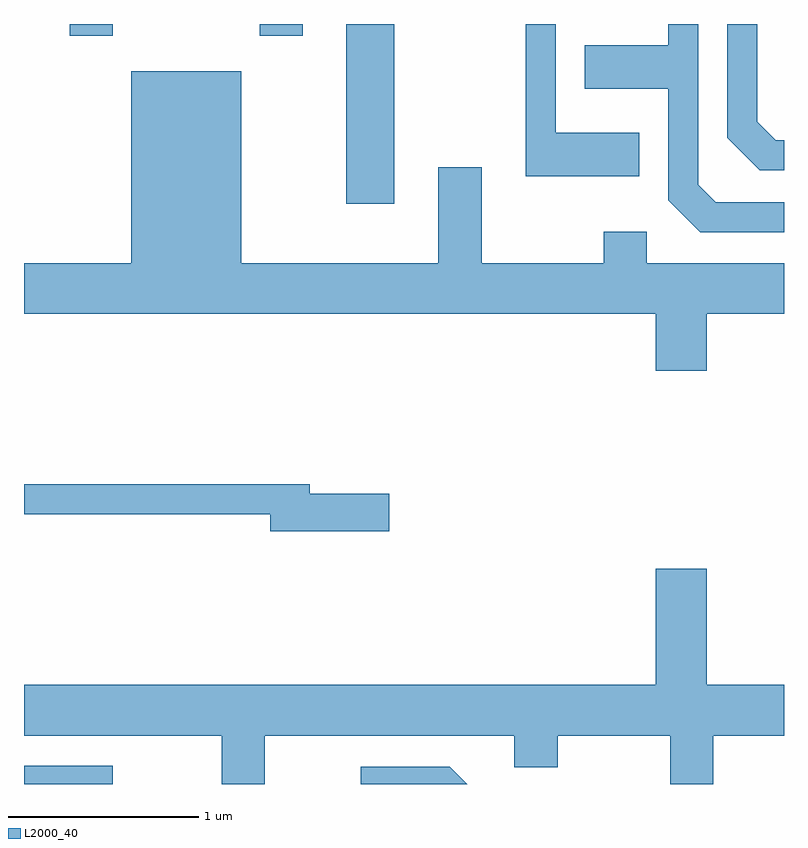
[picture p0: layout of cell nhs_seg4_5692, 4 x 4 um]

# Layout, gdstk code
import gdstk
lib = gdstk.Library(unit=1e-6, precision=1e-09)
def R(c, l, rs):  # rectangles x0, y0, x1, y1
    for r in rs: c.add(gdstk.rectangle(r[:2], r[2:], *l))
def P(c, l, *ps):  # polygons
    for p in ps: c.add(gdstk.Polygon(p, *l))
L2000_40 = (2000, 40)

nhs_seg4_5692 = lib.new_cell('nhs_seg4_5692')
R(nhs_seg4_5692, L2000_40, [(351.611,1349.982,352.079,1350.079), (353.306,1353.036,353.559,1353.982), (351.851,1353.921,352.079,1353.982), (352.851,1353.921,353.079,1353.982)])
P(nhs_seg4_5692, L2000_40, [(355.611,1353.369),(355.567,1353.369),(355.469,1353.467),(355.469,1353.982),(355.311,1353.982),(355.311,1353.384),(355.484,1353.211),(355.611,1353.211)],
  [(355.611,1353.044),(355.252,1353.044),(355.159,1353.137),(355.159,1353.982),(355.001,1353.982),(355.001,1353.869),(354.561,1353.869),(354.561,1353.641),(355.001,1353.641),(355.001,1353.054),(355.169,1352.886),(355.611,1352.886)],
  [(354.849,1353.409),(354.409,1353.409),(354.409,1353.982),(354.251,1353.982),(354.251,1353.181),(354.849,1353.181)],
  [(355.204,1352.456),(355.611,1352.456),(355.611,1352.724),(354.889,1352.724),(354.889,1352.889),(354.661,1352.889),(354.661,1352.724),(354.019,1352.724),(354.019,1353.229),(353.791,1353.229),(353.791,1352.724),(352.754,1352.724),(352.754,1353.734),(352.176,1353.734),(352.176,1352.724),(351.611,1352.724),(351.611,1352.456),(354.936,1352.456),(354.936,1352.156),(355.204,1352.156)],
  [(353.534,1351.509),(353.114,1351.509),(353.114,1351.559),(351.611,1351.559),(351.611,1351.401),(352.906,1351.401),(352.906,1351.311),(353.534,1351.311)],
  [(352.879,1350.236),(354.191,1350.236),(354.191,1350.071),(354.419,1350.071),(354.419,1350.236),(355.011,1350.236),(355.011,1349.982),(355.239,1349.982),(355.239,1350.236),(355.611,1350.236),(355.611,1350.504),(355.204,1350.504),(355.204,1351.114),(354.936,1351.114),(354.936,1350.504),(351.611,1350.504),(351.611,1350.236),(352.651,1350.236),(352.651,1349.982),(352.879,1349.982)],
  [(353.852,1350.074),(353.383,1350.074),(353.383,1349.982),(353.944,1349.982)])

lib.write_gds('nhs_seg4_5692.gds')
